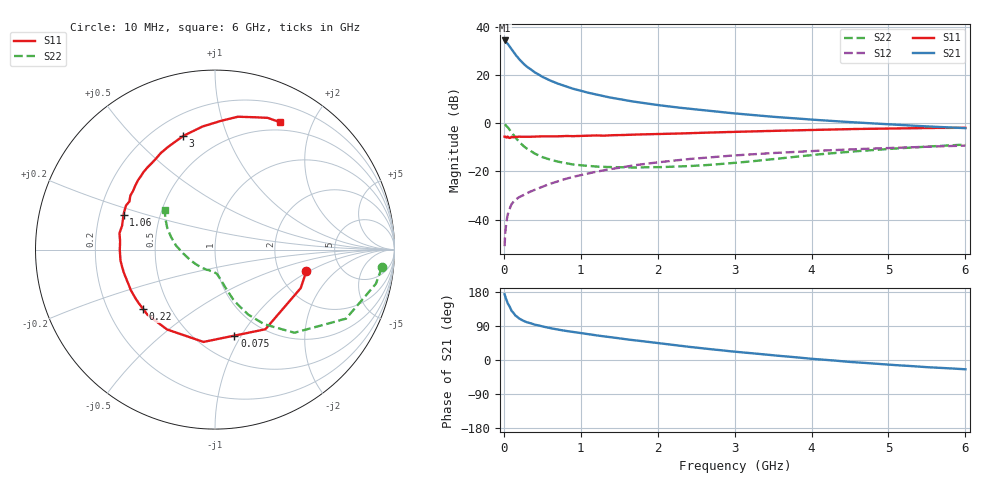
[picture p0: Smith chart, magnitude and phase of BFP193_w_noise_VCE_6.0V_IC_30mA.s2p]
! Infineon Technologies  Discrete & RF Semiconductors
! BFP193
! VCE = 6.0 V,  IC =  30 mA
! Common Emitter S-Parameters:  Jan 2016
# GHz  S  MA  R  50
!  f  S11  S21  S12  S22
! GHz  MAG  ANG  MAG  ANG  MAG  ANG  MAG  ANG
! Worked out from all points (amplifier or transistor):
!   210 points, 10 MHz to 6 GHz, reference 50 ohm
!   highest |S21| = 34.2 dB at 10 MHz (marker M1)
!   |S21| within 3 dB of that: start of sweep to 85.69 MHz
!   unconditionally stable (mu >= 1): 680.2 MHz to 3.978 GHz
!   at 185 MHz: K = 0.56, MSG = 29.0 dB, |S12| = -31.0 dB
!   at 1.52 GHz: K = 1.06, MAG = 12.6 dB, |S12| = -18.4 dB
!   at 6 GHz: K = 0.94, MSG = 3.6 dB, |S12| = -9.3 dB
!   lowest NFmin = 1.90 dB at 450 MHz
!   S11 on the Smith chart (normalised r, x): 10 MHz: 2.85, -0.94; 75 MHz: 0.74, -0.93; 220 MHz: 0.35, -0.32; 1.06 GHz: 0.30, +0.17; 3 GHz: 0.32, +0.71; 6 GHz: 0.40, +1.56
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0.01  0.5231 -13.2  51.55 173.4  0.0028 84.2  0.9353 -6.1
0.02  0.5235 -24.2  49.43 166.0  0.0056 79.7  0.9164 -12.0
0.05  0.5252 -57.7  44.24 149.6  0.0126 69.5  0.8252 -27.8
0.075  0.4913 -77.3  38.59 141.0  0.0166 62.5  0.7235 -35.9
0.1  0.5184 -97.1  34.07 129.9  0.0208 58.2  0.6405 -46.3
0.15  0.5191 -121.0  26.21 117.3  0.0257 53.6  0.4992 -56.5
0.2  0.5228 -136.0  21.07 109.4  0.0291 52.9  0.4065 -62.9
0.22  0.5195 -140.3  19.54 107.4  0.0301 52.9  0.3789 -64.4
0.26  0.5195 -148.2  16.77 103.0  0.0324 53.1  0.3294 -67.6
0.3  0.5206 -154.0  14.71 99.6  0.0351 54.3  0.2948 -70.0
0.4  0.5242 -166.0  11.3 93.4  0.0412 56.7  0.2333 -73.7
0.5  0.5303 -173.2  9.095 88.4  0.0478 58.1  0.1969 -76.4
0.7  0.5307 175.0  6.585 80.3  0.0615 59.8  0.1586 -80.8
1.02  0.5415 161.0  4.564 70.3  0.0846 59.9  0.1322 -87.4
1.06  0.5444 159.4  4.4 69.2  0.0877 59.8  0.1306 -88.7
1.4  0.5595 147.4  3.339 59.9  0.1118 57.4  0.1224 -97.7
2.02  0.5928 129.3  2.341 44.3  0.1543 50.8  0.1217 -119.1
3  0.6574 105.6  1.584 21.8  0.2132 38.9  0.1495 -156.9
3.1  0.6622 103.6  1.534 20.1  0.2181 37.7  0.1542 -160.6
4.1  0.724 85.8  1.15 1.7  0.2669 26.1  0.2247 171.9
5.1  0.772 72.7  0.922 -13.6  0.3071 15.2  0.2969 154.3
6  0.797 62.9  0.784 -24.5  0.341 5.8  0.3579 141.6
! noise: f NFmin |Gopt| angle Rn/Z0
0.45  1.9  0.4  180  0.09
0.9  1.95  0.43  -173  0.11
1.8  2.4  0.58  -144  0.24
